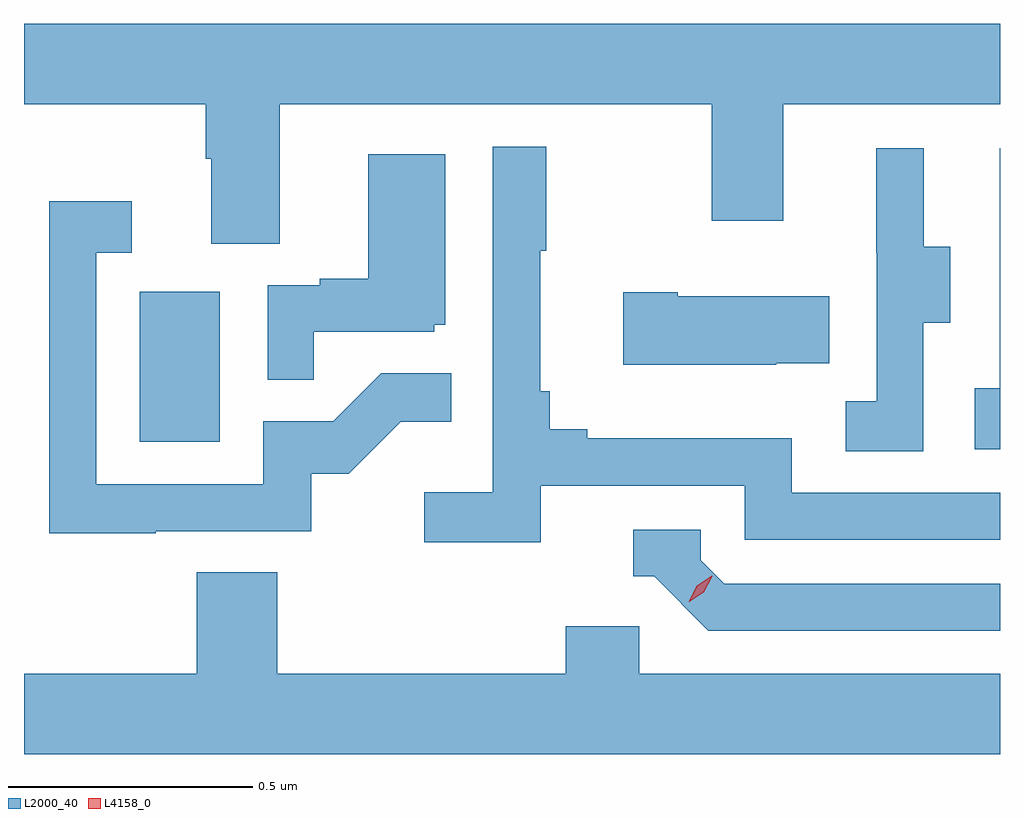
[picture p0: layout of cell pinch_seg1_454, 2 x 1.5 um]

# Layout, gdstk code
import gdstk
lib = gdstk.Library(unit=1e-6, precision=1e-09)
def R(c, l, rs):  # rectangles x0, y0, x1, y1
    for r in rs: c.add(gdstk.rectangle(r[:2], r[2:], *l))
def P(c, l, *ps):  # polygons
    for p in ps: c.add(gdstk.Polygon(p, *l))
L2000_40 = (2000, 40)
L4158_0 = (4158, 0)

pinch_seg1_454 = lib.new_cell('pinch_seg1_454')
R(pinch_seg1_454, L2000_40, [(970.514,520.404,970.678,520.711)])
P(pinch_seg1_454, L2000_40, [(970.801,521.096),(971.686,521.096),(971.686,520.857),(971.833,520.857),(971.833,521.096),(972.277,521.096),(972.277,521.26),(970.277,521.26),(970.277,521.096),(970.649,521.096),(970.649,520.984),(970.661,520.984),(970.661,520.81),(970.801,520.81)],
  [(971.336,520.314),(971.754,520.314),(971.754,520.203),(972.277,520.203),(972.277,520.299),(971.85,520.299),(971.85,520.411),(971.431,520.411),(971.431,520.43),(971.354,520.43),(971.354,520.507),(971.335,520.507),(971.335,520.795),(971.347,520.795),(971.347,521.008),(971.238,521.008),(971.238,520.3),(971.097,520.3),(971.097,520.198),(971.336,520.198)],
  [(972.277,521.005),(972.276,521.005),(972.276,520.514),(972.225,520.514),(972.225,520.389),(972.277,520.389)],
  [(972.12,520.648),(972.175,520.648),(972.175,520.803),(972.121,520.803),(972.121,521.005),(972.023,521.005),(972.023,520.791),(972.024,520.791),(972.024,520.487),(971.961,520.487),(971.961,520.384),(972.12,520.384)],
  [(970.871,520.629),(971.118,520.629),(971.118,520.644),(971.14,520.644),(971.14,520.993),(970.982,520.993),(970.982,520.738),(970.883,520.738),(970.883,520.725),(970.776,520.725),(970.776,520.531),(970.871,520.531)],
  [(970.547,520.221),(970.866,520.221),(970.866,520.338),(970.942,520.338),(971.049,520.445),(971.153,520.445),(971.153,520.544),(971.009,520.544),(970.911,520.446),(970.767,520.446),(970.767,520.317),(970.425,520.317),(970.425,520.791),(970.498,520.791),(970.498,520.897),(970.329,520.897),(970.329,520.216),(970.547,520.216)],
  [(971.819,520.565),(971.927,520.565),(971.927,520.702),(971.617,520.702),(971.617,520.71),(971.505,520.71),(971.505,520.562),(971.819,520.562)],
  [(972.277,520.113),(971.712,520.113),(971.664,520.161),(971.664,520.224),(971.525,520.224),(971.525,520.128),(971.568,520.128),(971.679,520.017),(972.277,520.017)],
  [(972.277,519.928),(971.538,519.928),(971.538,520.026),(971.387,520.026),(971.387,519.928),(970.796,519.928),(970.796,520.136),(970.631,520.136),(970.631,519.928),(970.277,519.928),(970.277,519.764),(972.277,519.764)])
P(pinch_seg1_454, L4158_0, [(971.639,520.076),(971.639,520.076),(971.656,520.109),(971.686,520.129),(971.687,520.129),(971.687,520.128),(971.67,520.096),(971.64,520.076)])

lib.write_gds('pinch_seg1_454.gds')
